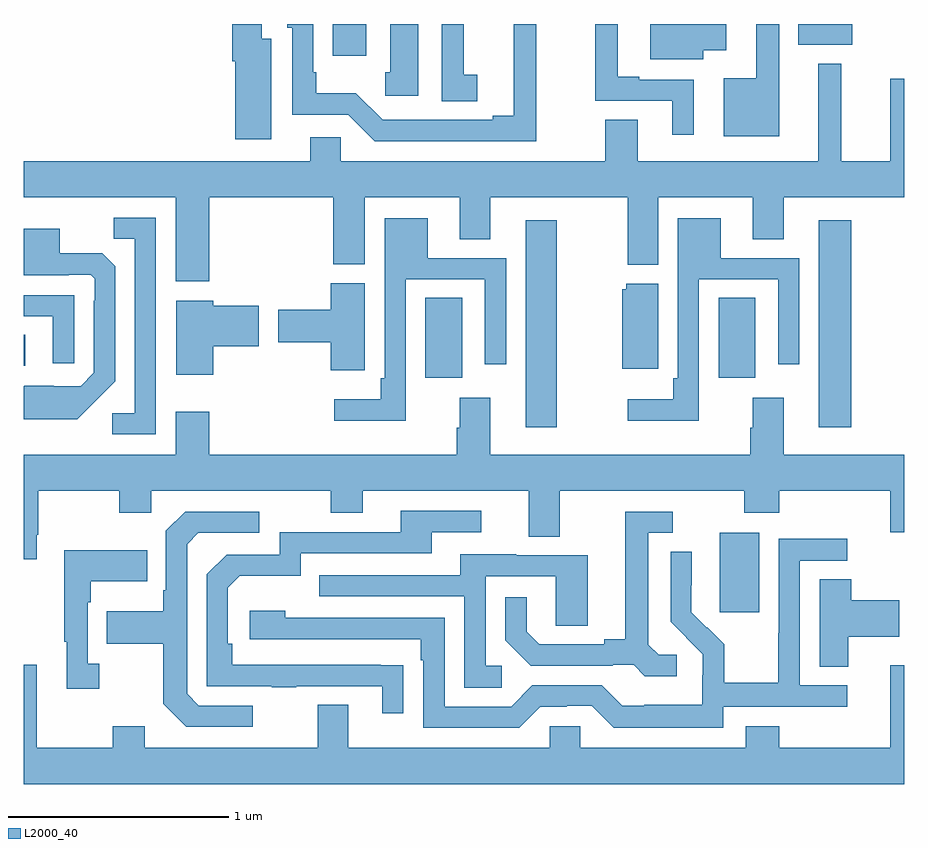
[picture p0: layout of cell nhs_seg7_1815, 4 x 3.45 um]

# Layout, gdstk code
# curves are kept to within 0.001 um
import gdstk
lib = gdstk.Library(unit=1e-6, precision=1e-09)
def R(c, l, rs):  # rectangles x0, y0, x1, y1
    for r in rs: c.add(gdstk.rectangle(r[:2], r[2:], *l))
def P(c, l, *ps):  # polygons
    for p in ps: c.add(gdstk.Polygon(p, *l))
L2000_40 = (2000, 40)

nhs_seg7_1815 = lib.new_cell('nhs_seg7_1815')
R(nhs_seg7_1815, L2000_40, [(236.162,1069.329,236.341,1069.69), (235.28,1070.169,235.422,1071.109), (236.612,1070.169,236.759,1071.109), (234.824,1070.394,234.991,1070.756), (236.156,1070.394,236.323,1070.756), (233,1070.448,233.008,1070.588), (234.404,1071.855,234.556,1072), (236.519,1071.905,236.764,1072)])
P(nhs_seg7_1815, L2000_40, [(234.124,1071.934),(234.082,1071.934),(234.082,1072),(233.948,1072),(233.948,1071.83),(233.96,1071.83),(233.96,1071.477),(234.124,1071.477)],
  [(234.793,1072),(234.665,1072),(234.665,1071.78),(234.643,1071.78),(234.643,1071.675),(234.793,1071.675)],
  [(235.328,1072),(235.225,1072),(235.226,1071.584),(235.13,1071.584),(235.13,1071.564),(234.63,1071.564),(234.509,1071.685),(234.328,1071.685),(234.328,1071.781),(234.315,1071.781),(234.315,1072),(234.198,1072),(234.198,1071.984),(234.219,1071.984),(234.219,1071.588),(234.474,1071.588),(234.594,1071.468),(235.328,1071.468)],
  [(236.431,1072),(236.327,1072),(236.327,1071.754),(236.18,1071.754),(236.18,1071.491),(236.431,1071.491)],
  [(236.086,1071.881),(236.191,1071.881),(236.191,1072),(235.847,1072),(235.847,1071.839),(236.086,1071.839)],
  [(236.044,1071.747),(235.795,1071.747),(235.795,1071.76),(235.699,1071.76),(235.699,1072),(235.597,1072),(235.597,1071.651),(235.946,1071.651),(235.946,1071.498),(236.044,1071.498)],
  [(235.06,1071.769),(234.999,1071.769),(234.999,1072),(234.9,1072),(234.9,1071.649),(235.06,1071.649)],
  [(233.843,1071.212),(234.407,1071.212),(234.407,1070.908),(234.55,1070.908),(234.55,1071.212),(234.98,1071.212),(234.98,1071.022),(235.12,1071.022),(235.12,1071.212),(235.744,1071.212),(235.744,1070.906),(235.882,1070.906),(235.882,1071.212),(236.312,1071.212),(236.312,1071.022),(236.452,1071.022),(236.452,1071.212),(237,1071.212),(237,1071.751),(236.936,1071.751),(236.936,1071.376),(236.713,1071.376),(236.713,1071.82),(236.609,1071.82),(236.609,1071.376),(235.789,1071.376),(235.789,1071.566),(235.642,1071.566),(235.642,1071.376),(234.441,1071.376),(234.441,1071.486),(234.302,1071.486),(234.302,1071.376),(233,1071.376),(233,1071.212),(233.69,1071.212),(233.69,1070.832),(233.843,1070.832)],
  [(233.601,1071.12),(233.41,1071.12),(233.41,1071.025),(233.505,1071.025),(233.505,1070.232),(233.403,1070.232),(233.403,1070.136),(233.601,1070.136)],
  [(234.735,1070.841),(235.095,1070.841),(235.095,1070.454),(235.191,1070.454),(235.191,1070.937),(234.835,1070.937),(234.835,1071.118),(234.639,1071.118),(234.639,1070.392),(234.623,1070.392),(234.623,1070.296),(234.411,1070.296),(234.411,1070.198),(234.735,1070.198)],
  [(236.067,1070.841),(236.427,1070.841),(236.427,1070.454),(236.523,1070.454),(236.523,1070.937),(236.167,1070.937),(236.167,1071.118),(235.971,1071.118),(235.971,1070.392),(235.951,1070.392),(235.951,1070.296),(235.743,1070.296),(235.743,1070.198),(236.067,1070.198)],
  [(233.323,1070.285),(233.415,1070.378),(233.415,1070.9),(233.356,1070.959),(233.164,1070.959),(233.164,1071.07),(233,1071.07),(233,1070.858),(233.204,1070.858),(233.204,1070.862),(233.304,1070.862),(233.322,1070.844),(233.322,1070.744),(233.319,1070.744),(233.319,1070.415),(233.259,1070.355),(233.002,1070.356),(233,1070.354),(233,1070.204),(233.243,1070.204)],
  [(234.549,1070.539),(234.55,1070.539),(234.55,1070.823),(234.394,1070.823),(234.394,1070.702),(234.156,1070.702),(234.156,1070.555),(234.394,1070.555),(234.394,1070.427),(234.549,1070.427)],
  [(235.882,1070.821),(235.737,1070.821),(235.737,1070.796),(235.718,1070.796),(235.718,1070.435),(235.882,1070.435)],
  [(233.229,1070.769),(233,1070.769),(233,1070.673),(233.133,1070.673),(233.133,1070.46),(233.229,1070.46)],
  [(233.86,1070.537),(234.067,1070.537),(234.067,1070.72),(233.86,1070.72),(233.86,1070.743),(233.693,1070.743),(233.693,1070.406),(233.86,1070.406)],
  [(233.059,1069.681),(233.067,1069.681),(233.067,1069.88),(233.434,1069.88),(233.434,1069.781),(233.58,1069.781),(233.58,1069.88),(234.394,1069.88),(234.394,1069.781),(234.541,1069.781),(234.541,1069.88),(235.295,1069.88),(235.295,1069.672),(235.435,1069.672),(235.435,1069.88),(236.272,1069.88),(236.272,1069.781),(236.432,1069.781),(236.432,1069.88),(236.936,1069.88),(236.936,1069.692),(237,1069.692),(237,1070.044),(236.452,1070.044),(236.452,1070.302),(236.312,1070.302),(236.312,1070.165),(236.3,1070.165),(236.3,1070.044),(235.12,1070.044),(235.12,1070.302),(234.98,1070.302),(234.98,1070.165),(234.968,1070.165),(234.968,1070.044),(233.843,1070.044),(233.843,1070.239),(233.69,1070.239),(233.69,1070.044),(233,1070.044),(233,1069.569),(233.059,1069.569)],
  [(234.725,1069.088),(233.948,1069.089),(233.948,1069.186),(233.928,1069.186),(233.928,1069.44),(233.981,1069.493),(234.258,1069.493),(234.258,1069.596),(234.853,1069.596),(234.853,1069.692),(235.078,1069.692),(235.078,1069.788),(234.713,1069.788),(234.713,1069.692),(234.162,1069.692),(234.162,1069.59),(233.922,1069.59),(233.832,1069.5),(233.832,1068.993),(234.127,1068.993),(234.127,1068.988),(234.239,1068.988),(234.239,1068.993),(234.629,1068.993),(234.629,1068.87),(234.725,1068.87)],
  [(234.04,1068.903),(233.796,1068.903),(233.742,1068.957),(233.742,1069.638),(233.793,1069.689),(234.07,1069.689),(234.07,1069.785),(233.733,1069.785),(233.646,1069.698),(233.646,1069.429),(233.634,1069.429),(233.634,1069.333),(233.377,1069.333),(233.377,1069.186),(233.634,1069.186),(233.634,1068.913),(233.739,1068.807),(234.04,1068.807)],
  [(235.966,1069.134),(235.884,1069.134),(235.837,1069.181),(235.837,1069.689),(235.948,1069.689),(235.948,1069.785),(235.733,1069.785),(235.733,1069.205),(235.637,1069.205),(235.637,1069.182),(235.342,1069.182),(235.285,1069.239),(235.285,1069.396),(235.188,1069.396),(235.188,1069.202),(235.304,1069.086),(235.676,1069.086),(235.676,1069.089),(235.77,1069.089),(235.822,1069.037),(235.966,1069.037)],
  [(236.178,1068.9),(236.74,1068.9),(236.74,1068.996),(236.526,1068.996),(236.526,1069.563),(236.74,1069.563),(236.74,1069.662),(236.43,1069.662),(236.43,1069.232),(236.428,1069.232),(236.428,1069.009),(236.183,1069.009),(236.183,1069.183),(236.106,1069.26),(236.103,1069.257),(236.033,1069.328),(236.034,1069.604),(235.938,1069.604),(235.938,1069.286),(236.084,1069.138),(236.084,1069.041),(236.082,1069.041),(236.082,1068.907),(235.819,1068.907),(235.819,1068.903),(235.719,1068.903),(235.626,1068.996),(235.311,1068.996),(235.215,1068.9),(234.912,1068.9),(234.912,1069.302),(234.188,1069.302),(234.188,1069.336),(234.027,1069.336),(234.027,1069.206),(234.803,1069.206),(234.803,1069.109),(234.816,1069.109),(234.816,1068.804),(235.251,1068.804),(235.347,1068.9),(235.466,1068.9),(235.466,1068.903),(235.581,1068.903),(235.681,1068.803),(236.178,1068.803)],
  [(233.344,1069.094),(233.292,1069.094),(233.292,1069.373),(233.305,1069.373),(233.305,1069.469),(233.561,1069.469),(233.561,1069.609),(233.184,1069.609),(233.184,1069.193),(233.195,1069.193),(233.195,1068.981),(233.344,1068.981)],
  [(235.171,1069.086),(235.098,1069.086),(235.098,1069.491),(235.416,1069.491),(235.416,1069.267),(235.561,1069.267),(235.561,1069.587),(235.237,1069.587),(235.237,1069.591),(234.983,1069.591),(234.983,1069.497),(234.343,1069.497),(234.343,1069.401),(235.002,1069.401),(235.002,1068.985),(235.171,1068.985)],
  [(236.746,1069.217),(236.977,1069.217),(236.977,1069.383),(236.759,1069.383),(236.759,1069.478),(236.615,1069.478),(236.615,1069.081),(236.746,1069.081)],
  [(237,1069.087),(236.936,1069.087),(236.936,1068.712),(236.432,1068.712),(236.432,1068.811),(236.279,1068.811),(236.279,1068.712),(235.527,1068.712),(235.527,1068.81),(235.389,1068.81),(235.389,1068.712),(234.475,1068.712),(234.475,1068.907),(234.335,1068.907),(234.335,1068.712),(233.551,1068.712),(233.551,1068.811),(233.404,1068.811),(233.404,1068.712),(233.059,1068.712),(233.059,1069.09),(233,1069.09),(233,1068.548),(237,1068.548)])

lib.write_gds('nhs_seg7_1815.gds')
